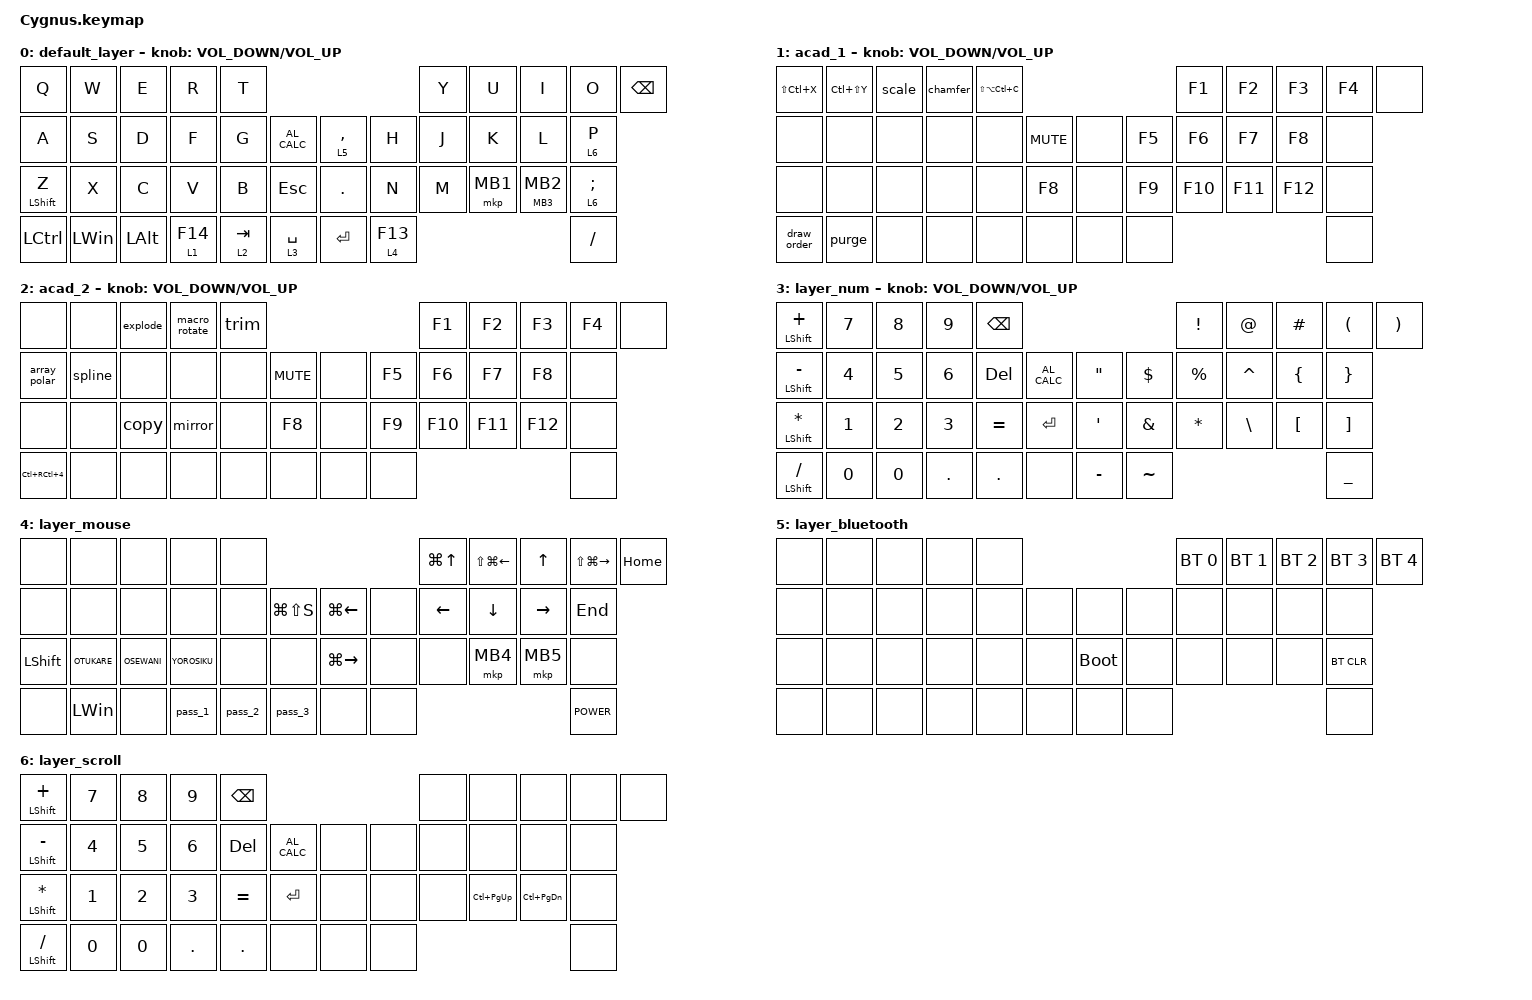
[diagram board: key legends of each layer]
#include <behaviors.dtsi>
#include <dt-bindings/zmk/bt.h>
#include <dt-bindings/zmk/keys.h>
#include <dt-bindings/zmk/pointing.h>

#define ZMK_MOUSE_DEFAULT_SCRL_VAL 50

&mt {
    flavor = "balanced";
    quick-tap-ms = <0>;
};

/ {
    combos {
        compatible = "zmk,combos";

        combo_del {
            bindings = <&kp DEL>;
            key-positions = <9 8>;
        };

        combo_mclk {
            bindings = <&mkp MB3>;
            key-positions = <32 31>;
        };

        combo_ctrl_y {
            bindings = <&kp Y>;
            key-positions = <22 23>;
        };

        combo_caps {
            bindings = <&kp CAPSLOCK>;
            key-positions = <37 38>;
        };
    };

    macros {
        scale: scale {
            compatible = "zmk,behavior-macro";
            #binding-cells = <0>;
            bindings = <&kp S &kp C &kp A &kp L &kp E &kp RET>;
        };

        chamfer: chamfer {
            compatible = "zmk,behavior-macro";
            #binding-cells = <0>;
            bindings = <&kp C &kp H &kp A &kp M &kp F &kp E &kp R &kp RET>;
        };

        macro_rotate: macro_rotate {
            compatible = "zmk,behavior-macro";
            #binding-cells = <0>;
            bindings = <&kp R &kp O &kp T &kp A &kp T &kp E &kp RET>;
        };

        trim: trim {
            compatible = "zmk,behavior-macro";
            #binding-cells = <0>;
            bindings = <&kp T &kp R &kp I &kp M &kp RET>;
        };

        mirror: mirror {
            compatible = "zmk,behavior-macro";
            #binding-cells = <0>;
            bindings = <&kp M &kp I &kp R &kp R &kp O &kp R &kp RET>;
        };

        array_polar: arraypolar {
            compatible = "zmk,behavior-macro";
            #binding-cells = <0>;
            bindings = <&kp A &kp R &kp R &kp A &kp Y &kp P &kp O &kp L &kp A &kp R &kp RET>;
        };

        draw_order: draw_order {
            compatible = "zmk,behavior-macro";
            #binding-cells = <0>;
            bindings = <&kp D &kp R &kp A &kp W &kp O &kp R &kp D &kp E &kp R &kp ENTER>;
        };

        purge: purge {
            compatible = "zmk,behavior-macro";
            #binding-cells = <0>;
            bindings = <&kp P &kp U &kp R &kp G &kp E &kp RET>;
        };

        copy: copy {
            compatible = "zmk,behavior-macro";
            #binding-cells = <0>;
            bindings = <&kp C &kp O &kp P &kp Y &kp RET>;
        };

        explode: explode {
            compatible = "zmk,behavior-macro";
            #binding-cells = <0>;
            bindings = <&kp E &kp X &kp P &kp L &kp O &kp D &kp E &kp RET>;
        };

        spline: spline {
            compatible = "zmk,behavior-macro";
            #binding-cells = <0>;
            bindings = <&kp S &kp P &kp L &kp I &kp N &kp E &kp RET>;
        };

        OSEWANI: OSEWANI {
            compatible = "zmk,behavior-macro";
            #binding-cells = <0>;
            wait-ms = <5>;
            tap-ms = <5>;
            bindings = <&kp F13 &kp O &kp S &kp E &kp W &kp A &kp N &kp I &kp N &kp A &kp T &kp T &kp E &kp O &kp R &kp I &kp M &kp A &kp S &kp U &kp DOT &kp SPACE &kp RET>;
            label = "OSEWANI";
        };

        OTUKARE: OTUKARE {
            compatible = "zmk,behavior-macro";
            #binding-cells = <0>;
            wait-ms = <5>;
            tap-ms = <5>;
            bindings = <&kp F13 &kp O &kp T &kp U &kp K &kp A &kp R &kp E &kp S &kp A &kp M &kp A &kp D &kp E &kp S &kp U &kp DOT &kp SPACE &kp RET>;
            label = "OTUKARE";
        };

        YOROSIKU: YOROSIKU {
            compatible = "zmk,behavior-macro";
            #binding-cells = <0>;
            wait-ms = <5>;
            tap-ms = <5>;
            bindings = <&kp F13 &kp D &kp O &kp U &kp Z &kp O &kp Y &kp O &kp R &kp O &kp S &kp I &kp K &kp U &kp O &kp N &kp E &kp G &kp A &kp I &kp I &kp T &kp A &kp S &kp I &kp M &kp A &kp S &kp U &kp DOT &kp SPACE &kp RET>;
            label = "YOROSIKU";
        };

        pass_1: pass_1 {
            compatible = "zmk,behavior-macro";
            #binding-cells = <0>;
            wait-ms = <40>;
            tap-ms = <30>;
            bindings = <&kp K &kp Y &kp O &kp H &kp E &kp I &kp N2 &kp N4 &kp RET>;
            label = "PASS_1";
        };

        pass_2: pass_2 {
            compatible = "zmk,behavior-macro";
            #binding-cells = <0>;
            wait-ms = <40>;
            tap-ms = <30>;
            bindings = <&kp D &kp A &kp I &kp K &kp O &kp N1 &kp RET>;
            label = "PASS_2";
        };

        pass_3: pass_3 {
            compatible = "zmk,behavior-macro";
            #binding-cells = <0>;
            wait-ms = <40>;
            tap-ms = <30>;
            bindings = <&kp LS(M) &kp A &kp T &kp S &kp U &kp LS(K) &kp Y &kp O &kp H &kp E &kp I &kp MINUS &kp N2 &kp N4 &kp RET>;
            label = "PASS_3";
        };
    };

    behaviors {
        sensor_rotate: sensor_rotate {
            compatible = "zmk,behavior-sensor-rotate";
            label = "ROTATE";
            #sensor-binding-cells = <0>;
            bindings = <&msc SCRL_UP>, <&msc SCRL_DOWN>;
            tap-ms = <20>;
        };

        sensor_zoom: sensor_zoom {
            compatible = "zmk,behavior-sensor-rotate";
            label = "ZOOM";
            #sensor-binding-cells = <0>;
            // Ctrl + プラス / Ctrl + マイナス を送信
            bindings = <&kp LC(MINUS)>,<&kp LC(PLUS)> ;
            // OSが認識できるよう、しっかり長さを確保
            tap-ms = <30>;
        };

        // --- マクロを通さず直接マウス入力を呼び出す（押しっぱなし解消） ---
        ht_mouse: hold_tap_mouse {
            compatible = "zmk,behavior-hold-tap";
            label = "HOLD_TAP_MOUSE";
            #binding-cells = <2>;
            tapping-term-ms = <150>;
            flavor = "hold-preferred";
            bindings = <&mkp>, <&mkp>;
        };
    };

    keymap {
        compatible = "zmk,keymap";

        default_layer {
            bindings = <
&kp Q             &kp W         &kp E         &kp R      &kp T                                          &kp Y      &kp U  &kp I     &kp O     &kp BACKSPACE
&kp A             &kp S         &kp D         &kp F      &kp G      &kp C_AL_CALC      &lt 5 COMMA  &kp H      &kp J  &kp K     &kp L     &lt 6 P
// ▼ ht_mouse に パラメータ (MB3 = 長押し, MB2 = 短押し) をしっかり渡す
&mt LEFT_SHIFT Z  &kp X         &kp C         &kp V      &kp B      &kp ESC            &kp PERIOD   &kp N      &kp M  &mkp MB1  &ht_mouse MB3 MB2  &lt 6 SEMI
&kp LCTRL         &kp LEFT_WIN  &kp LEFT_ALT  &lt 1 F14  &lt 2 TAB  &lt 3 SPACE        &kp ENTER    &lt 4 F13                              &kp SLASH
            >;

            sensor-bindings = <&inc_dec_kp C_VOLUME_DOWN C_VOL_UP>;
        };

        acad_1 {
            bindings = <
&kp LS(LC(X))  &kp LC(LS(Y))  &scale  &chamfer  &kp LS(LA(LC(C)))                           &kp F1  &kp F2   &kp F3   &kp F4   &none
&none          &none          &none   &none     &none              &kp C_MUTE        &none  &kp F5  &kp F6   &kp F7   &kp F8   &none
&none          &none          &none   &none     &none              &kp F8            &none  &kp F9  &kp F10  &kp F11  &kp F12  &none
&draw_order    &purge         &none   &none     &none              &none             &none  &none                              &none
            >;
            sensor-bindings = <&inc_dec_kp C_VOLUME_DOWN C_VOL_UP>;
        };

        acad_2 {
            bindings = <
&none                 &none    &explode  &macro_rotate  &trim                                       &kp F1  &kp F2   &kp F3   &kp F4   &none
&array_polar          &spline  &none     &none          &none  &kp C_MUTE                    &none  &kp F5  &kp F6   &kp F7   &kp F8   &none
&none                 &none    &copy     &mirror        &none  &kp F8                        &none  &kp F9  &kp F10  &kp F11  &kp F12  &none
&kp LC(RC(NUMBER_4))  &none    &none     &none          &none  &none                         &none  &none                              &none
            >;
            sensor-bindings = <&inc_dec_kp C_VOLUME_DOWN C_VOL_UP>;
        };

        layer_num {
            bindings = <
&mt LSHFT PLUS   &kp N7        &kp N8        &kp N9        &kp BACKSPACE                                     &kp EXCLAMATION  &kp AT_SIGN   &kp HASH       &kp LEFT_PARENTHESIS  &kp RIGHT_PARENTHESIS
&mt LSHFT MINUS  &kp NUMBER_4  &kp N5        &kp NUMBER_6  &kp DELETE     &kp C_AL_CALC   &kp DOUBLE_QUOTES  &kp DOLLAR       &kp PERCENT   &kp CARET      &kp LEFT_BRACE        &kp RIGHT_BRACE
&mt LSHFT ASTRK  &kp NUMBER_1  &kp NUMBER_2  &kp NUMBER_3  &kp EQUAL      &kp ENTER       &kp SQT            &kp AMPERSAND    &kp ASTERISK  &kp BACKSLASH  &kp LEFT_BRACKET      &kp RIGHT_BRACKET
&mt LSHFT SLASH  &kp N0        &kp N0        &kp PERIOD    &kp PERIOD     &none           &kp MINUS          &kp TILDE                                                           &kp UNDERSCORE
            >;
            sensor-bindings =  <&inc_dec_kp C_VOLUME_DOWN C_VOL_UP>;
        };

        layer_mouse {
            bindings = <
&none           &none         &none     &none      &none                                    &kp LG(UP)  &kp LS(LG(LEFT))  &kp UP_ARROW    &kp LS(LG(RIGHT))   &kp HOME
&none           &none         &none     &none      &none  &kp LG(LS(S))      &kp LG(LEFT)   &none       &kp LEFT_ARROW    &kp DOWN_ARROW  &kp RIGHT_ARROW     &kp END
&kp LEFT_SHIFT  &OTUKARE      &OSEWANI  &YOROSIKU  &none  &none              &kp LG(RIGHT)  &none       &none             &mkp MB4        &mkp MB5            &none
&none           &kp LEFT_WIN  &none     &pass_1    &pass_2 &pass_3           &none          &none                                                             &kp K_POWER
            >;
        };

        layer_bluetooth {
            bindings = <
&none  &none  &none  &none  &none                                  &bt BT_SEL 0  &bt BT_SEL 1  &bt BT_SEL 2  &bt BT_SEL 3  &bt BT_SEL 4
&none  &none  &none  &none  &none  &none             &none         &none         &none         &none         &none         &none
&none  &none  &none  &none  &none  &none             &bootloader   &none         &none         &none         &none         &bt BT_CLR
&none  &none  &none  &none  &none  &none             &none         &none                                                   &none
            >;
        };

        layer_scroll {
            bindings = <
&mt LSHFT PLUS   &kp N7        &kp N8        &kp N9        &kp BACKSPACE                                  &none  &none  &none            &none              &none
&mt LSHFT MINUS  &kp NUMBER_4  &kp N5        &kp NUMBER_6  &kp DELETE     &kp C_AL_CALC            &none  &none  &none  &none            &none              &none
&mt LSHFT ASTRK  &kp NUMBER_1  &kp NUMBER_2  &kp NUMBER_3  &kp EQUAL      &kp ENTER                &none  &none  &none  &kp LC(PAGE_UP)  &kp LC(PAGE_DOWN)  &none
&mt LSHFT SLASH  &kp N0        &kp N0        &kp PERIOD    &kp PERIOD     &none                    &none  &none                                             &none
            >;
        };
    };
};
